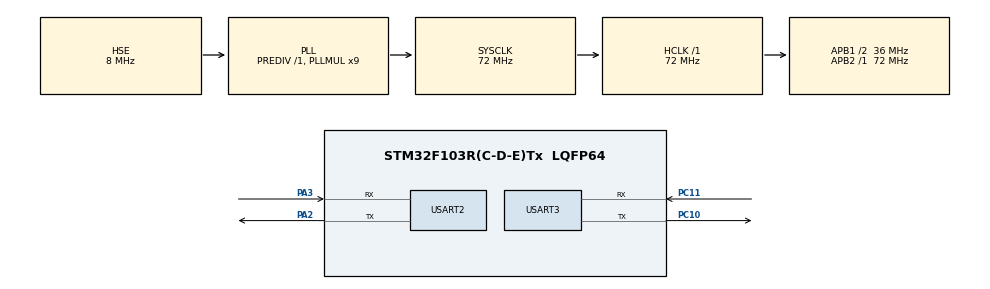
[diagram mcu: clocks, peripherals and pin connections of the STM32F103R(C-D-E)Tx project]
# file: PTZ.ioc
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Dma.Request0=USART3_RX
Dma.Request1=USART3_TX
Dma.Request2=USART2_RX
Dma.Request3=USART2_TX
Dma.USART2_RX.2.Direction=DMA_PERIPH_TO_MEMORY
Dma.USART2_RX.2.Instance=DMA1_Channel6
Dma.USART2_RX.2.MemDataAlignment=DMA_MDATAALIGN_BYTE
Dma.USART2_RX.2.MemInc=DMA_MINC_ENABLE
Dma.USART2_RX.2.Mode=DMA_NORMAL
Dma.USART2_RX.2.PeriphDataAlignment=DMA_PDATAALIGN_BYTE
Dma.USART2_RX.2.PeriphInc=DMA_PINC_DISABLE
Dma.USART2_RX.2.Priority=DMA_PRIORITY_LOW
Dma.USART2_TX.3.Direction=DMA_MEMORY_TO_PERIPH
Dma.USART2_TX.3.Instance=DMA1_Channel7
Dma.USART2_TX.3.MemDataAlignment=DMA_MDATAALIGN_BYTE
Dma.USART2_TX.3.MemInc=DMA_MINC_ENABLE
Dma.USART2_TX.3.Mode=DMA_NORMAL
Dma.USART2_TX.3.PeriphDataAlignment=DMA_PDATAALIGN_BYTE
Dma.USART2_TX.3.PeriphInc=DMA_PINC_DISABLE
Dma.USART2_TX.3.Priority=DMA_PRIORITY_LOW
Dma.USART3_RX.0.Direction=DMA_PERIPH_TO_MEMORY
Dma.USART3_RX.0.Instance=DMA1_Channel3
Dma.USART3_RX.0.MemDataAlignment=DMA_MDATAALIGN_BYTE
Dma.USART3_RX.0.MemInc=DMA_MINC_ENABLE
Dma.USART3_RX.0.Mode=DMA_NORMAL
Dma.USART3_RX.0.PeriphDataAlignment=DMA_PDATAALIGN_BYTE
Dma.USART3_RX.0.PeriphInc=DMA_PINC_DISABLE
Dma.USART3_RX.0.Priority=DMA_PRIORITY_LOW
Dma.USART3_TX.1.Direction=DMA_MEMORY_TO_PERIPH
Dma.USART3_TX.1.Instance=DMA1_Channel2
Dma.USART3_TX.1.MemDataAlignment=DMA_MDATAALIGN_BYTE
Dma.USART3_TX.1.MemInc=DMA_MINC_ENABLE
Dma.USART3_TX.1.Mode=DMA_NORMAL
Dma.USART3_TX.1.PeriphDataAlignment=DMA_PDATAALIGN_BYTE
Dma.USART3_TX.1.PeriphInc=DMA_PINC_DISABLE
Dma.USART3_TX.1.Priority=DMA_PRIORITY_LOW
Mcu.Family=STM32F1
Mcu.Name=STM32F103R(C-D-E)Tx
Mcu.Package=LQFP64
NVIC.DMA1_Channel2_IRQn=true\:0\:0\:false\:false\:true\:false\:true\:true
NVIC.DMA1_Channel3_IRQn=true\:0\:0\:false\:false\:true\:false\:true\:true
NVIC.DMA1_Channel6_IRQn=true\:0\:0\:false\:false\:true\:false\:true\:true
NVIC.DMA1_Channel7_IRQn=true\:0\:0\:false\:false\:true\:false\:true\:true
NVIC.PriorityGroup=NVIC_PRIORITYGROUP_4
NVIC.TIM1_UP_IRQn=true\:0\:0\:false\:false\:true\:true\:true\:true
NVIC.USART2_IRQn=true\:0\:0\:false\:false\:true\:true\:true\:true
NVIC.USART3_IRQn=true\:0\:0\:false\:false\:true\:true\:true\:true
PA13.Mode=Serial_Wire
PA13.Signal=SYS_JTMS-SWDIO
PA14.Mode=Serial_Wire
PA14.Signal=SYS_JTCK-SWCLK
PA2.Mode=Asynchronous
PA2.Signal=USART2_TX
PA3.GPIO_PuPd=GPIO_PULLUP
PA3.Mode=Asynchronous
PA3.Signal=USART2_RX
PC10.Mode=Asynchronous
PC10.Signal=USART3_TX
PC11.GPIO_PuPd=GPIO_PULLUP
PC11.Mode=Asynchronous
PC11.Signal=USART3_RX
PD0-OSC_IN.Mode=HSE-External-Oscillator
PD0-OSC_IN.Signal=RCC_OSC_IN
PD1-OSC_OUT.Mode=HSE-External-Oscillator
PD1-OSC_OUT.Signal=RCC_OSC_OUT
ProjectManager.HeapSize=0x200
ProjectManager.StackSize=0x400
ProjectManager.TargetToolchain=MDK-ARM V5.32
RCC.AHBFreq_Value=72000000
RCC.APB1CLKDivider=RCC_HCLK_DIV2
RCC.APB1Freq_Value=36000000
RCC.APB1TimFreq_Value=72000000
RCC.APB2Freq_Value=72000000
RCC.APB2TimFreq_Value=72000000
RCC.HCLKFreq_Value=72000000
RCC.PLLMUL=RCC_PLL_MUL9
RCC.PLLSourceVirtual=RCC_PLLSOURCE_HSE
RCC.SYSCLKFreq_VALUE=72000000
RCC.SYSCLKSource=RCC_SYSCLKSOURCE_PLLCLK
RCC.USBFreq_Value=72000000
TIM1.AutoReloadPreload=TIM_AUTORELOAD_PRELOAD_ENABLE
TIM1.Period=10000-1
TIM1.Prescaler=72-1
USART2.VirtualMode=VM_ASYNC
USART3.VirtualMode=VM_ASYNC
VP_TIM1_VS_ClockSourceINT.Mode=Internal
board=custom

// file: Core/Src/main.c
/* USER CODE BEGIN Header */
/**
  ******************************************************************************
  * @file           : main.c
  * @brief          : Main program body
  ******************************************************************************
  * @attention
  *
  * Copyright (c) 2023 STMicroelectronics.
  * All rights reserved.
  *
  * This software is licensed under terms that can be found in the LICENSE file
  * in the root directory of this software component.
  * If no LICENSE file comes with this software, it is provided AS-IS.
  *
  ******************************************************************************
  */
/* USER CODE END Header */
#include "main.h"
#include "dma.h"
#include "tim.h"
#include "usart.h"
#include "gpio.h"

/* USER CODE BEGIN Includes */
#include "system.h"
#include "servo.h"
#include "track.h"
#include "pid.h"
/* USER CODE END Includes */

/* USER CODE BEGIN PV */
uint8_t Servo_0_Rx_Start_Flag = 0;
uint8_t Servo_1_Rx_Start_Flag = 0;
/* USER CODE END PV */

void SystemClock_Config(void);

int main(void)
{

  /* MCU Configuration--------------------------------------------------------*/

  /* Reset of all peripherals, Initializes the Flash interface and the Systick. */
  HAL_Init();

  /* Configure the system clock */
  SystemClock_Config();

  /* Initialize all configured peripherals */
  MX_GPIO_Init();
  MX_DMA_Init();
  MX_USART3_UART_Init();
  MX_TIM1_Init();
  MX_USART2_UART_Init();
  /* USER CODE BEGIN 2 */
	Servo_Init();
	HAL_Delay(1000);

	Track_Init();
	HAL_TIM_Base_Start_IT(&htim1);
	HAL_UART_Receive_DMA(&huart3, Servo_0.Response_UART_Rx.Response_Temp, 1);
  HAL_UART_Receive_DMA(&huart2, Track_Rx_Data_Temp, 1);
  /* USER CODE END 2 */

  /* Infinite loop */
  /* USER CODE BEGIN WHILE */
  while (1)
  {
		Servo_0.Current_PWM = Get_PWM_From_Response(Servo_0.Response_UART_Rx.Response);
    Servo_1.Current_PWM = Get_PWM_From_Response(Servo_1.Response_UART_Rx.Response);
    X_Bias = Get_X_Bias_From_Rx();
    Y_Bias = Get_Y_Bias_From_Rx();

    Track_PID_Update(&X_PID, X_Bias, &X_PID_Output);
    Track_PID_Update(&Y_PID, -Y_Bias, &Y_PID_Output);

    Servo_0.Target_PWM = target_limit_int(Servo_0.Current_PWM + X_PID_Output, Servo_0.PWM_Min, Servo_0.PWM_Max);
    Servo_0.Target_Angle = (Servo_0.Target_PWM - 500) * (Servo_0.Angle_Max - Servo_0.Angle_Min) / (Servo_0.PWM_Max - Servo_0.PWM_Min) - 135;
    Servo_1.Target_PWM = target_limit_int(Servo_1.Current_PWM + Y_PID_Output, Servo_1.PWM_Min, Servo_1.PWM_Max);
    Servo_1.Target_Angle = (Servo_1.Target_PWM - 500) * (Servo_1.Angle_Max - Servo_1.Angle_Min) / (Servo_1.PWM_Max - Servo_1.PWM_Min) - 135;

    /* USER CODE END WHILE */

  }
}

void SystemClock_Config(void)
{
  RCC_OscInitTypeDef RCC_OscInitStruct = {0};
  RCC_ClkInitTypeDef RCC_ClkInitStruct = {0};

  /** Initializes the RCC Oscillators according to the specified parameters
  * in the RCC_OscInitTypeDef structure.
  */
  RCC_OscInitStruct.OscillatorType = RCC_OSCILLATORTYPE_HSE;
  RCC_OscInitStruct.HSEState = RCC_HSE_ON;
  RCC_OscInitStruct.HSEPredivValue = RCC_HSE_PREDIV_DIV1;
  RCC_OscInitStruct.HSIState = RCC_HSI_ON;
  RCC_OscInitStruct.PLL.PLLState = RCC_PLL_ON;
  RCC_OscInitStruct.PLL.PLLSource = RCC_PLLSOURCE_HSE;
  RCC_OscInitStruct.PLL.PLLMUL = RCC_PLL_MUL9;
  if (HAL_RCC_OscConfig(&RCC_OscInitStruct) != HAL_OK)
  {
    Error_Handler();
  }

  /** Initializes the CPU, AHB and APB buses clocks
  */
  RCC_ClkInitStruct.ClockType = RCC_CLOCKTYPE_HCLK|RCC_CLOCKTYPE_SYSCLK
                              |RCC_CLOCKTYPE_PCLK1|RCC_CLOCKTYPE_PCLK2;
  RCC_ClkInitStruct.SYSCLKSource = RCC_SYSCLKSOURCE_PLLCLK;
  RCC_ClkInitStruct.AHBCLKDivider = RCC_SYSCLK_DIV1;
  RCC_ClkInitStruct.APB1CLKDivider = RCC_HCLK_DIV2;
  RCC_ClkInitStruct.APB2CLKDivider = RCC_HCLK_DIV1;

  if (HAL_RCC_ClockConfig(&RCC_ClkInitStruct, FLASH_LATENCY_2) != HAL_OK)
  {
    Error_Handler();
  }
}

/* USER CODE BEGIN 4 */
void HAL_TIM_PeriodElapsedCallback(TIM_HandleTypeDef *htim)  // 10ms
{
  if (htim == &PERIOD_INTERRUPT_TIM_HANDLER)
  {
    switch (Servo_Control_State)
    {
    case SERVO_0_GET:
      Servo_Get_Position(Servo_0);
      break;

    case SERVO_0_SET:
      if (Servo_Control_Mode == SERVO_CONTROL_BY_PWM)
      {
        Servo_Set_PWM(Servo_0, Servo_0.Target_PWM, 2500);
      }
      else if (Servo_Control_Mode == SERVO_CONTROL_BY_ANGLE)
      {
        Servo_Set_Angle(Servo_0, Servo_0.Target_Angle, 2500);
      }
      Servo_Control_State = SERVO_1_GET;
      break;

    case SERVO_1_GET:
      Servo_Get_Position(Servo_1);
      break;

    case SERVO_1_SET:
      if (Servo_Control_Mode == SERVO_CONTROL_BY_PWM)
      {
      Servo_Set_PWM(Servo_1, Servo_1.Target_PWM, 2500);
      }
      else if (Servo_Control_Mode == SERVO_CONTROL_BY_ANGLE)
      {
      Servo_Set_Angle(Servo_1, Servo_1.Target_Angle, 2500);
      }
      Servo_Control_State = SERVO_0_GET;
      break;

    default:
      Servo_Control_State = SERVO_0_GET;
      break;
    }
  }
}

void HAL_UART_RxCpltCallback(UART_HandleTypeDef *huart)
{
  if (huart == &huart2)
	{
    if (Track_Rx_Start_Flag == 0 && Track_Rx_Data_Temp[0] == 0xAA)
    {
      Track_Rx_Start_Flag = 1;
      HAL_UART_Receive_DMA(&huart2, &Track_Rx_Data_Temp[1], 5);
    }
    else if (Track_Rx_Start_Flag == 1)
    {
			if (Track_Rx_Data_Temp[5] == 0x55)
			{
				memcpy(Track_Rx_Data, Track_Rx_Data_Temp, 6);
			}
      Track_Rx_Start_Flag = 0;
      HAL_UART_Receive_DMA(&huart2, Track_Rx_Data_Temp, 1);
    }
    else
    {
      Track_Rx_Start_Flag = 0;
      HAL_UART_Receive_DMA(&huart2, Track_Rx_Data_Temp, 1);
    }
  }
	else if (huart == &huart3)
	{
    if (Servo_Control_State == SERVO_0_GET || Servo_Control_State == SERVO_0_SET)
    {
      if (Servo_0_Rx_Start_Flag == 0 && Servo_0.Response_UART_Rx.Response_Temp[0] == '#')
      {
        Servo_0_Rx_Start_Flag = 1;
        HAL_UART_Receive_DMA(&huart3, &Servo_0.Response_UART_Rx.Response_Temp[1], 9);
      }
      else if (Servo_0_Rx_Start_Flag == 1)
      {
        memcpy(Servo_0.Response_UART_Rx.Response, Servo_0.Response_UART_Rx.Response_Temp, 10);
        Servo_0_Rx_Start_Flag = 0;
				Servo_Control_State = SERVO_0_SET;
        HAL_UART_Receive_DMA(&huart3, Servo_1.Response_UART_Rx.Response_Temp, 1);
      }
      else
      {
        Servo_0_Rx_Start_Flag = 0;
        HAL_UART_Receive_DMA(&huart3, Servo_0.Response_UART_Rx.Response_Temp, 1);
      }
    }
    else
    {
      if (Servo_1_Rx_Start_Flag == 0 && Servo_1.Response_UART_Rx.Response_Temp[0] == '#')
      {
        Servo_1_Rx_Start_Flag = 1;
        HAL_UART_Receive_DMA(&huart3, &Servo_1.Response_UART_Rx.Response_Temp[1], 9);
      }
      else if (Servo_1_Rx_Start_Flag == 1)
      {
        memcpy(Servo_1.Response_UART_Rx.Response, Servo_1.Response_UART_Rx.Response_Temp, 10);
        Servo_1_Rx_Start_Flag = 0;
				Servo_Control_State = SERVO_1_SET;
        HAL_UART_Receive_DMA(&huart3, Servo_0.Response_UART_Rx.Response_Temp, 1);
      }
      else
      {
        Servo_1_Rx_Start_Flag = 0;
        HAL_UART_Receive_DMA(&huart3, Servo_1.Response_UART_Rx.Response_Temp, 1);
      }
    }
	}
}
/* USER CODE END 4 */

void Error_Handler(void)
{
  __disable_irq();
  while (1)
  {
  }
}
